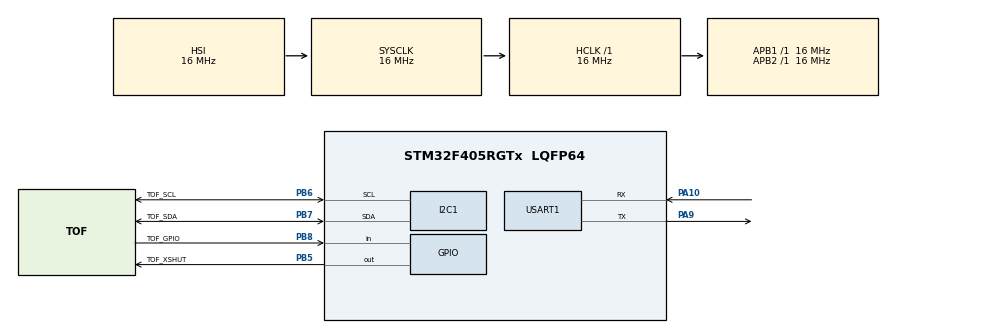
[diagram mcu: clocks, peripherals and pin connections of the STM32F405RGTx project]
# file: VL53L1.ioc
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Mcu.Family=STM32F4
Mcu.Name=STM32F405RGTx
Mcu.Package=LQFP64
NVIC.PriorityGroup=NVIC_PRIORITYGROUP_4
PA10.Mode=Asynchronous
PA10.Signal=USART1_RX
PA9.Mode=Asynchronous
PA9.Signal=USART1_TX
PB5.GPIO_Label=TOF_XSHUT
PB5.Signal=GPIO_Output
PB6.GPIO_Label=TOF_SCL
PB6.Mode=I2C
PB6.Signal=I2C1_SCL
PB7.GPIO_Label=TOF_SDA
PB7.Mode=I2C
PB7.Signal=I2C1_SDA
PB8.GPIO_Label=TOF_GPIO
PB8.Signal=GPIO_Input
PH0-OSC_IN.Mode=HSE-External-Oscillator
PH0-OSC_IN.Signal=RCC_OSC_IN
PH1-OSC_OUT.Mode=HSE-External-Oscillator
PH1-OSC_OUT.Signal=RCC_OSC_OUT
ProjectManager.HeapSize=0x200
ProjectManager.StackSize=0x400
ProjectManager.TargetToolchain=STM32CubeIDE
RCC.AHBFreq_Value=16000000
RCC.APB1Freq_Value=16000000
RCC.APB2Freq_Value=16000000
RCC.CortexFreq_Value=16000000
RCC.HSE_VALUE=25000000
RCC.HSI_VALUE=16000000
RCC.LSE_VALUE=32768
RCC.SYSCLKFreq_VALUE=16000000
RCC.VCOOutputFreq_Value=192000000
USART1.VirtualMode=VM_ASYNC
board=custom

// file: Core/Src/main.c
/* USER CODE BEGIN Header */
/**
  ******************************************************************************
  * @file           : main.c
  * @brief          : Main program body
  ******************************************************************************
  * @attention
  *
  * Copyright (c) 2024 STMicroelectronics.
  * All rights reserved.
  *
  * This software is licensed under terms that can be found in the LICENSE file
  * in the root directory of this software component.
  * If no LICENSE file comes with this software, it is provided AS-IS.
  *
  ******************************************************************************
  */
/* USER CODE END Header */
#include "main.h"
#include "i2c.h"
#include "usart.h"
#include "gpio.h"

/* USER CODE BEGIN Includes */
#include "string.h"
/* USER CODE END Includes */

/* USER CODE BEGIN PV */
uint8_t message[512] ={'\0'};
uint8_t dis;
uint16_t distance = 0;
uint8_t i=0;
/* USER CODE END PV */

void SystemClock_Config(void);

int main(void)
{

  /* MCU Configuration--------------------------------------------------------*/

  /* Reset of all peripherals, Initializes the Flash interface and the Systick. */
  HAL_Init();

  /* Configure the system clock */
  SystemClock_Config();

  /* Initialize all configured peripherals */
  MX_GPIO_Init();
  MX_I2C1_Init();
  MX_USART1_UART_Init();
  /* USER CODE BEGIN 2 */
  	i=0;
	while(1){

	  			sprintf(message,"Begin Init!\r\n");
	  			HAL_UART_Transmit(&huart1, message, strlen(message), HAL_MAX_DELAY);
	  			HAL_Delay(1000);
	  			i++;
				if(i>4)
					break;
	  		}
  	if(VL53L1__Init()){
  		i=0;
  		while(1){

  			sprintf(message,"VL53 Init failed!\r\n");
  			HAL_UART_Transmit(&huart1, message, strlen(message), HAL_MAX_DELAY);
  			HAL_Delay(1000);
  			i++;
			if(i>4)
				break;
  		}
  	}
  	else{
  		i=0;
  		while(1){

  					sprintf(message,"VL53 Init SUCCESS!\r\n");
  		  			HAL_UART_Transmit(&huart1, message, strlen(message), HAL_MAX_DELAY);
  		  			HAL_Delay(1000);
  		  			i++;
  					if(i>4)
  						break;
  		  		}
  		VL53L1X_StartRanging(VL53L1__ADDR);
  	}

  /* USER CODE END 2 */

  /* Infinite loop */
  /* USER CODE BEGIN WHILE */
  while (1)
  {
	    dis = VL53L1__GetDistance(&distance);
		sprintf(message," status = %d ,Distance = %d\r\n",dis,distance);
		HAL_UART_Transmit(&huart1, message, strlen(message), HAL_MAX_DELAY);
//		HAL_Delay(300);
    /* USER CODE END WHILE */

  }
}

void SystemClock_Config(void)
{
  RCC_OscInitTypeDef RCC_OscInitStruct = {0};
  RCC_ClkInitTypeDef RCC_ClkInitStruct = {0};

  /** Configure the main internal regulator output voltage
  */
  __HAL_RCC_PWR_CLK_ENABLE();
  __HAL_PWR_VOLTAGESCALING_CONFIG(PWR_REGULATOR_VOLTAGE_SCALE1);

  /** Initializes the RCC Oscillators according to the specified parameters
  * in the RCC_OscInitTypeDef structure.
  */
  RCC_OscInitStruct.OscillatorType = RCC_OSCILLATORTYPE_HSI;
  RCC_OscInitStruct.HSIState = RCC_HSI_ON;
  RCC_OscInitStruct.HSICalibrationValue = RCC_HSICALIBRATION_DEFAULT;
  RCC_OscInitStruct.PLL.PLLState = RCC_PLL_NONE;
  if (HAL_RCC_OscConfig(&RCC_OscInitStruct) != HAL_OK)
  {
    Error_Handler();
  }

  /** Initializes the CPU, AHB and APB buses clocks
  */
  RCC_ClkInitStruct.ClockType = RCC_CLOCKTYPE_HCLK|RCC_CLOCKTYPE_SYSCLK
                              |RCC_CLOCKTYPE_PCLK1|RCC_CLOCKTYPE_PCLK2;
  RCC_ClkInitStruct.SYSCLKSource = RCC_SYSCLKSOURCE_HSI;
  RCC_ClkInitStruct.AHBCLKDivider = RCC_SYSCLK_DIV1;
  RCC_ClkInitStruct.APB1CLKDivider = RCC_HCLK_DIV1;
  RCC_ClkInitStruct.APB2CLKDivider = RCC_HCLK_DIV1;

  if (HAL_RCC_ClockConfig(&RCC_ClkInitStruct, FLASH_LATENCY_0) != HAL_OK)
  {
    Error_Handler();
  }
}

void Error_Handler(void)
{
  __disable_irq();
  while (1)
  {
  }
}
